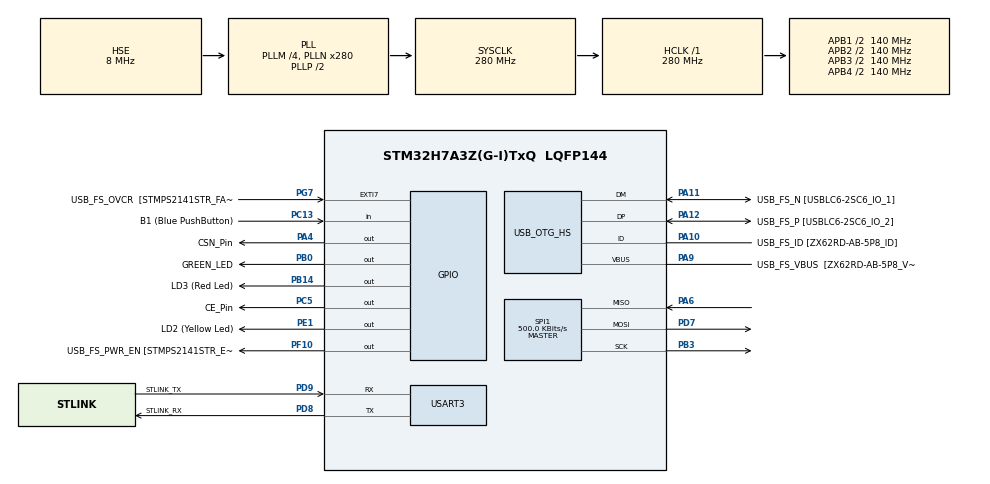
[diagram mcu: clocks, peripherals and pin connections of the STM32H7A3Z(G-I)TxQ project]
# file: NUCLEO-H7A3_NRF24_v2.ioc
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Mcu.Family=STM32H7
Mcu.Name=STM32H7A3Z(G-I)TxQ
Mcu.Package=LQFP144
NVIC.PriorityGroup=NVIC_PRIORITYGROUP_4
NVIC.SPI1_IRQn=true\:0\:0\:false\:false\:true\:true\:true\:true
NVIC.USART3_IRQn=true\:0\:0\:false\:false\:true\:true\:true\:true
PA10.GPIO_Label=USB_FS_ID [ZX62RD-AB-5P8_ID]
PA10.Mode=OTG/Dual-Role-Device-FS
PA10.Signal=USB_OTG_HS_ID
PA11.GPIO_Label=USB_FS_N [USBLC6-2SC6_IO_1]
PA11.Mode=OTG/Dual-Role-Device-FS
PA11.Signal=USB_OTG_HS_DM
PA12.GPIO_Label=USB_FS_P [USBLC6-2SC6_IO_2]
PA12.Mode=OTG/Dual-Role-Device-FS
PA12.Signal=USB_OTG_HS_DP
PA4.GPIO_Label=CSN_Pin
PA4.Signal=GPIO_Output
PA6.Mode=Full_Duplex_Master
PA6.Signal=SPI1_MISO
PA9.GPIO_Label=USB_FS_VBUS  [ZX62RD-AB-5P8_VBUS]
PA9.Mode=Activate_VBUS_FS
PA9.Signal=USB_OTG_HS_VBUS
PB0.GPIO_Label=GREEN_LED
PB0.Signal=GPIO_Output
PB14.GPIO_Label=LD3 (Red Led)
PB14.Signal=GPIO_Output
PB3.Mode=Full_Duplex_Master
PB3.Signal=SPI1_SCK
PC13.GPIO_Label=B1 (Blue PushButton)
PC13.Signal=GPIO_Input
PC14-OSC32_IN.GPIO_Label=OSC32_IN
PC14-OSC32_IN.Mode=LSE-External-Oscillator
PC14-OSC32_IN.Signal=RCC_OSC32_IN
PC15-OSC32_OUT.GPIO_Label=OSC32_OUT
PC15-OSC32_OUT.Mode=LSE-External-Oscillator
PC15-OSC32_OUT.Signal=RCC_OSC32_OUT
PC5.GPIO_Label=CE_Pin
PC5.Signal=GPIO_Output
PD7.Mode=Full_Duplex_Master
PD7.Signal=SPI1_MOSI
PD8.GPIO_Label=STLINK_RX
PD8.Mode=Asynchronous
PD8.Signal=USART3_TX
PD9.GPIO_Label=STLINK_TX
PD9.Mode=Asynchronous
PD9.Signal=USART3_RX
PE1.GPIO_Label=LD2 (Yellow Led)
PE1.Signal=GPIO_Output
PF10.GPIO_Label=USB_FS_PWR_EN [STMPS2141STR_EN]
PF10.Signal=GPIO_Output
PG7.GPIO_Label=USB_FS_OVCR  [STMPS2141STR_FAULT]
PG7.Signal=GPXTI7
PH0-OSC_IN.GPIO_Label=PH0-MCU
PH0-OSC_IN.Mode=HSE-External-Clock-Source
PH0-OSC_IN.Signal=RCC_OSC_IN
PH1-OSC_OUT.GPIO_Label=PH1-MCU
PH1-OSC_OUT.Signal=RCC_OSC_OUT
ProjectManager.HeapSize=0x200
ProjectManager.StackSize=0x400
ProjectManager.TargetToolchain=STM32CubeIDE
RCC.ADCFreq_Value=16125000
RCC.APB1Freq_Value=140000000
RCC.APB2Freq_Value=140000000
RCC.APB3Freq_Value=140000000
RCC.APB4Freq_Value=140000000
RCC.CDPPRE=RCC_APB3_DIV2
RCC.CDPPRE1=RCC_APB1_DIV2
RCC.CDPPRE2=RCC_APB2_DIV2
RCC.CortexFreq_Value=280000000
RCC.DIVM1=4
RCC.DIVM3=1
RCC.DIVN1=280
RCC.DIVN3=24
RCC.DIVQ1=4
RCC.HCLKFreq_Value=280000000
RCC.HSE_VALUE=8000000
RCC.HSIDiv=RCC_PLLSAIDIVR_4
RCC.PLL2FRACN=0
RCC.PLL3FRACN=0
RCC.PLLFRACN=0
RCC.PLLSourceVirtual=RCC_PLLSOURCE_HSE
RCC.SPI123CLockSelection=RCC_SPI123CLKSOURCE_CLKP
RCC.SRDPPRE=RCC_APB4_DIV2
RCC.SYSCLKFreq_VALUE=280000000
RCC.SYSCLKSource=RCC_SYSCLKSOURCE_PLLCLK
RCC.SupplySource=PWR_DIRECT_SMPS_SUPPLY
RCC.USBCLockSelection=RCC_USBCLKSOURCE_HSI48
RCC.USBFreq_Value=48000000
SPI1.BaudRatePrescaler=SPI_BAUDRATEPRESCALER_32
SPI1.CalculateBaudRate=500.0 KBits/s
SPI1.DataSize=SPI_DATASIZE_8BIT
SPI1.Direction=SPI_DIRECTION_2LINES
SPI1.Mode=SPI_MODE_MASTER
SPI1.VirtualType=VM_MASTER
USART3.VirtualMode-Asynchronous=VM_ASYNC
board=NUCLEO-H7A3ZI-Q

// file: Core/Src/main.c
/* USER CODE BEGIN Header */
/**
 ******************************************************************************
 * @file           : main.c
 * @brief          : Main program body
 ******************************************************************************
 * @attention
 *
 * Copyright (c) 2023 STMicroelectronics.
 * All rights reserved.
 *
 * This software is licensed under terms that can be found in the LICENSE file
 * in the root directory of this software component.
 * If no LICENSE file comes with this software, it is provided AS-IS.
 *
 ******************************************************************************
 */
/* USER CODE END Header */
#include "main.h"
#include "spi.h"
#include "usart.h"
#include "usb_otg.h"
#include "gpio.h"

/* USER CODE BEGIN Includes */
#include "NRF24.h"
#include <stdio.h>
/* USER CODE END Includes */

/* USER CODE BEGIN PD */
#define UARTTXBUFFERSIZE 32
#define UARTRXBUFFERSIZE 32
#define LED1_PORT GPIOB
#define LED1_PIN GPIO_PIN_0
#define LED2_PORT GPIOE
#define LED2_PIN GPIO_PIN_1
#define LED3_PORT GPIOB
#define LED3_PIN GPIO_PIN_14
/* USER CODE END PD */

/* USER CODE BEGIN PV */
extern char uartTxBuffer[UARTTXBUFFERSIZE];
extern char uartRxBuffer[UARTRXBUFFERSIZE];
extern UART_HandleTypeDef huart3;
extern uint8_t uartFlag;
int mode ;

char* TxData = "\r\nFonctionne stp\r\n";
char* msglu = "\r\nMessage recu !\r\n";

//RX mode
uint64_t RxpipeAddrs = 0x11223344AA;
char myRxData[50];
char myAckPayload[32] = "Ack by STMF7!";

//TX mode
uint64_t TxpipeAddrs = 0x11223344AA;
char myTxData[32] = "Hello World!";
char AckPayload[32];

/* USER CODE END PV */

void SystemClock_Config(void);
void PeriphCommonClock_Config(void);

int main(void)
{

	/* MCU Configuration--------------------------------------------------------*/

	/* Reset of all peripherals, Initializes the Flash interface and the Systick. */
	HAL_Init();

	/* Configure the system clock */
	SystemClock_Config();

	/* Configure the peripherals common clocks */
	PeriphCommonClock_Config();

	/* Initialize all configured peripherals */
	MX_GPIO_Init();
	MX_USART3_UART_Init();
	MX_USB_OTG_HS_USB_Init();
	MX_SPI1_Init();
	/* USER CODE BEGIN 2 */
	HAL_UART_Transmit(&huart3, (uint8_t*) "Booting...\r\n",12,100);

	// TX mode
	//mode = 0;

	//RX mode
	mode = 1;

	switch(mode){
	case 0:
		NRF24_begin(hspi1);
		nrf24_DebugUART_Init(huart3);

		printRadioSettings();

		NRF24_stopListening();
		NRF24_openWritingPipe(TxpipeAddrs);
		NRF24_setAutoAck(true);
		NRF24_setChannel(52);
		NRF24_setPayloadSize(32);

		NRF24_enableDynamicPayloads();
		NRF24_enableAckPayload();
		break;
	case 1:
		NRF24_begin(hspi1);
		nrf24_DebugUART_Init(huart3);

		printRadioSettings();

		NRF24_setAutoAck(true);
		NRF24_setChannel(52);
		NRF24_setPayloadSize(32);
		NRF24_openReadingPipe(1, RxpipeAddrs);
		NRF24_enableDynamicPayloads();
		NRF24_enableAckPayload();

		NRF24_startListening();
		break;
	}

	printRadioSettings();

	/* USER CODE END 2 */

	/* Infinite loop */
	while (1){

		/* USER CODE BEGIN 3 */
		if(uartFlag == 1){
			switch(uartRxBuffer[0]){
			case 'g' :
				HAL_UART_Transmit(&huart3,(uint8_t*) "et informations for nrf24\r\n",27,100);
				void NRF24_ShowMemory() ;
				break;
			default :
				HAL_GPIO_TogglePin(LED2_PORT,  LED2_PIN) ;
				HAL_UART_Transmit(&huart3, (uint8_t*) msglu, 18, 100) ;
				HAL_GPIO_TogglePin(LED2_PORT,  LED2_PIN) ;
				break;
			}
			uartFlag = 0 ;
		}

		switch(mode){
		case 0:
			if(NRF24_write(myTxData, 32)){
				NRF24_read(AckPayload, 32);
				HAL_UART_Transmit(&huart3, (uint8_t *)"Transmitted Successfully\r\n", strlen("Transmitted Successfully\r\n"), 10);

				char myDataack[80];
				sprintf(myDataack, "AckPayload:  %s \r\n", AckPayload);
				HAL_UART_Transmit(&huart3, (uint8_t *)myDataack, strlen(myDataack), 10);
			}
			break;
		case 1:
			if(NRF24_available()){
				NRF24_read(myRxData, 32);
				NRF24_writeAckPayload(1, myAckPayload, 32);
				myRxData[32] = '\r'; myRxData[32+1] = '\n';
				HAL_UART_Transmit(&huart3, (uint8_t *)myRxData, 32+2, 10);
			}
			break ;
		}

		HAL_Delay(1000);

	}
	/* USER CODE END 3 */
}

void SystemClock_Config(void)
{
	RCC_OscInitTypeDef RCC_OscInitStruct = {0};
	RCC_ClkInitTypeDef RCC_ClkInitStruct = {0};

	/*AXI clock gating */
	RCC->CKGAENR = 0xFFFFFFFF;

	/** Supply configuration update enable
	 */
	HAL_PWREx_ConfigSupply(PWR_DIRECT_SMPS_SUPPLY);

	/** Configure the main internal regulator output voltage
	 */
	__HAL_PWR_VOLTAGESCALING_CONFIG(PWR_REGULATOR_VOLTAGE_SCALE0);

	while(!__HAL_PWR_GET_FLAG(PWR_FLAG_VOSRDY)) {}

	/** Initializes the RCC Oscillators according to the specified parameters
	 * in the RCC_OscInitTypeDef structure.
	 */
	RCC_OscInitStruct.OscillatorType = RCC_OSCILLATORTYPE_HSI48|RCC_OSCILLATORTYPE_HSI
			|RCC_OSCILLATORTYPE_HSE;
	RCC_OscInitStruct.HSEState = RCC_HSE_BYPASS;
	RCC_OscInitStruct.HSIState = RCC_HSI_DIV4;
	RCC_OscInitStruct.HSICalibrationValue = 64;
	RCC_OscInitStruct.HSI48State = RCC_HSI48_ON;
	RCC_OscInitStruct.PLL.PLLState = RCC_PLL_ON;
	RCC_OscInitStruct.PLL.PLLSource = RCC_PLLSOURCE_HSE;
	RCC_OscInitStruct.PLL.PLLM = 4;
	RCC_OscInitStruct.PLL.PLLN = 280;
	RCC_OscInitStruct.PLL.PLLP = 2;
	RCC_OscInitStruct.PLL.PLLQ = 4;
	RCC_OscInitStruct.PLL.PLLR = 2;
	RCC_OscInitStruct.PLL.PLLRGE = RCC_PLL1VCIRANGE_1;
	RCC_OscInitStruct.PLL.PLLVCOSEL = RCC_PLL1VCOWIDE;
	RCC_OscInitStruct.PLL.PLLFRACN = 0;
	if (HAL_RCC_OscConfig(&RCC_OscInitStruct) != HAL_OK)
	{
		Error_Handler();
	}

	/** Initializes the CPU, AHB and APB buses clocks
	 */
	RCC_ClkInitStruct.ClockType = RCC_CLOCKTYPE_HCLK|RCC_CLOCKTYPE_SYSCLK
			|RCC_CLOCKTYPE_PCLK1|RCC_CLOCKTYPE_PCLK2
			|RCC_CLOCKTYPE_D3PCLK1|RCC_CLOCKTYPE_D1PCLK1;
	RCC_ClkInitStruct.SYSCLKSource = RCC_SYSCLKSOURCE_PLLCLK;
	RCC_ClkInitStruct.SYSCLKDivider = RCC_SYSCLK_DIV1;
	RCC_ClkInitStruct.AHBCLKDivider = RCC_HCLK_DIV1;
	RCC_ClkInitStruct.APB3CLKDivider = RCC_APB3_DIV2;
	RCC_ClkInitStruct.APB1CLKDivider = RCC_APB1_DIV2;
	RCC_ClkInitStruct.APB2CLKDivider = RCC_APB2_DIV2;
	RCC_ClkInitStruct.APB4CLKDivider = RCC_APB4_DIV2;

	if (HAL_RCC_ClockConfig(&RCC_ClkInitStruct, FLASH_LATENCY_7) != HAL_OK)
	{
		Error_Handler();
	}
}

void PeriphCommonClock_Config(void)
{
	RCC_PeriphCLKInitTypeDef PeriphClkInitStruct = {0};

	/** Initializes the peripherals clock
	 */
	PeriphClkInitStruct.PeriphClockSelection = RCC_PERIPHCLK_CKPER;
	PeriphClkInitStruct.CkperClockSelection = RCC_CLKPSOURCE_HSI;
	if (HAL_RCCEx_PeriphCLKConfig(&PeriphClkInitStruct) != HAL_OK)
	{
		Error_Handler();
	}
}

void Error_Handler(void)
{
	__disable_irq();
	while (1)
	{
	}
}
